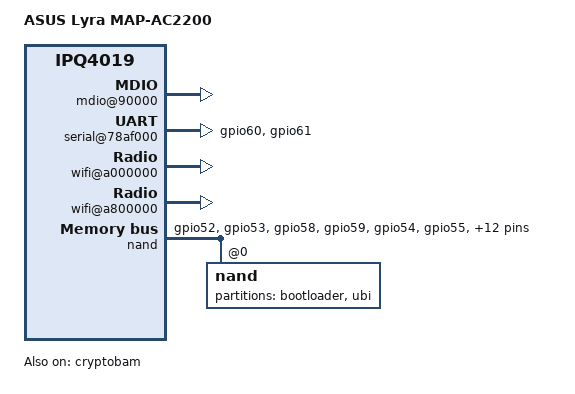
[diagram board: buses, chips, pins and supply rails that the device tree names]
/* Copyright (c) 2015, The Linux Foundation. All rights reserved.
 *
 * Permission to use, copy, modify, and/or distribute this software for any
 * purpose with or without fee is hereby granted, provided that the above
 * copyright notice and this permission notice appear in all copies.
 *
 * THE SOFTWARE IS PROVIDED "AS IS" AND THE AUTHOR DISCLAIMS ALL WARRANTIES
 * WITH REGARD TO THIS SOFTWARE INCLUDING ALL IMPLIED WARRANTIES OF
 * MERCHANTABILITY AND FITNESS. IN NO EVENT SHALL THE AUTHOR BE LIABLE FOR
 * ANY SPECIAL, DIRECT, INDIRECT, OR CONSEQUENTIAL DAMAGES OR ANY DAMAGES
 * WHATSOEVER RESULTING FROM LOSS OF USE, DATA OR PROFITS, WHETHER IN AN
 * ACTION OF CONTRACT, NEGLIGENCE OR OTHER TORTIOUS ACTION, ARISING OUT OF
 * OR IN CONNECTION WITH THE USE OR PERFORMANCE OF THIS SOFTWARE.
 *
 */

#include "qcom-ipq4019.dtsi"
#include <dt-bindings/gpio/gpio.h>
#include <dt-bindings/input/input.h>
#include <dt-bindings/soc/qcom,tcsr.h>

/ {
	model = "ASUS Lyra MAP-AC2200";
	compatible = "asus,map-ac2200", "qcom,ipq4019";

	soc {
		mdio@90000 {
			status = "okay";
		};

		ess-psgmii@98000 {
			status = "okay";
		};

		tcsr@1949000 {
			compatible = "qcom,tcsr";
			reg = <0x1949000 0x100>;
			qcom,wifi_glb_cfg = <TCSR_WIFI_GLB_CFG>;
		};

		ess_tcsr@1953000 {
			compatible = "qcom,tcsr";
			reg = <0x1953000 0x1000>;
			qcom,ess-interface-select = <TCSR_ESS_PSGMII>;
		};

		tcsr@1957000 {
			compatible = "qcom,tcsr";
			reg = <0x1957000 0x100>;
			qcom,wifi_noc_memtype_m0_m2 = <TCSR_WIFI_NOC_MEMTYPE_M0_M2>;
		};

		serial@78af000 {
			pinctrl-0 = <&serial_pins>;
			pinctrl-names = "default";
			status = "okay";
		};

		crypto@8e3a000 {
			status = "okay";
		};

		wifi@a000000 {
			status = "okay";
			qcom,ath10k-calibration-variant = "ASUS-MAP-AC2200";
		};

		wifi@a800000 {
			status = "okay";
			qcom,ath10k-calibration-variant = "ASUS-MAP-AC2200";
		};

		watchdog@b017000 {
			status = "okay";
		};

		ess-switch@c000000 {
			status = "okay";
		};

		edma@c080000 {
			status = "okay";
		};
	};

};
&nand {
	pinctrl-0 = <&nand_pins>;
	pinctrl-names = "default";
	status = "okay";

	nand@0 {
		partitions {
			compatible = "fixed-partitions";
			#address-cells = <1>;
			#size-cells = <1>;


			partition@0 {
				label = "bootloader";
				reg = <0x000000000000 0x00000400000>;
			};
			partition@1 {
				label = "ubi";
				reg = <0x000000400000 0x07c00000>;
			};
		};
	};
};

&tlmm {
	serial_pins: serial_pinmux {
		mux {
			pins = "gpio60", "gpio61";
			function = "blsp_uart0";
			bias-disable;
		};
	};
	
	nand_pins: nand_pins {

                                pullups {
                                        pins = "gpio52", "gpio53", "gpio58",
                                                "gpio59";
                                        function = "qpic";
                                        bias-pull-up;
                                };

                                pulldowns {
                                        pins = "gpio54", "gpio55", "gpio56",
                                                "gpio57", "gpio60", "gpio61",
                                                "gpio62", "gpio63", "gpio64",
                                                "gpio65", "gpio66", "gpio67",
                                                "gpio68", "gpio69";
                                        function = "qpic";
                                        bias-pull-down;
                                };
       };

};

&cryptobam {
	status = "okay";
};

&blsp_dma {
	status = "okay";
};
